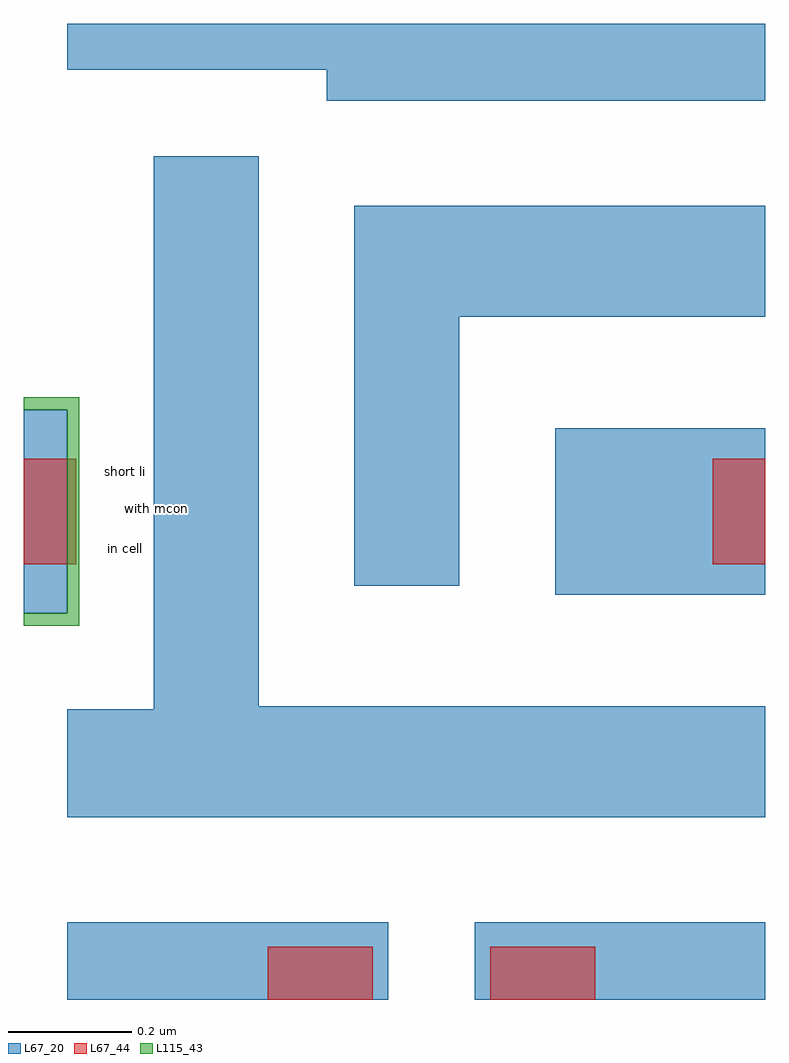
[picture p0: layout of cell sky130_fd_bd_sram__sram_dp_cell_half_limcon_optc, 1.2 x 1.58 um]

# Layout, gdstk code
from math import pi, radians
import gdstk
lib = gdstk.Library(unit=1e-6, precision=1e-09)
def R(c, l, rs):  # rectangles x0, y0, x1, y1
    for r in rs: c.add(gdstk.rectangle(r[:2], r[2:], *l))
def P(c, l, *ps):  # polygons
    for p in ps: c.add(gdstk.Polygon(p, *l))
L67_20 = (67, 20)
L67_44 = (67, 44)
L115_43 = (115, 43)

sky130_fd_bd_sram__sram_ = lib.new_cell('sky130_fd_bd_sram__sram_dp_mcon_05')
R(sky130_fd_bd_sram__sram_, L67_44, [(-0.085,0,0.085,0.085)])

c_sky130_fd_bd_sram__sram_ = lib.new_cell('sky130_fd_bd_sram__sram_dp_cell_half_limcon_optc')
R(c_sky130_fd_bd_sram__sram_, L67_20, [(0.07,0,0.59,0.125), (0.73,0,1.2,0.125), (0,0.625,0.07,0.955), (0.86,0.655,1.2,0.925)])
P(c_sky130_fd_bd_sram__sram_, L67_20, [(0.49,1.455),(0.49,1.505),(0.07,1.505),(0.07,1.58),(1.2,1.58),(1.2,1.455)],
  [(0.535,0.67),(0.535,1.285),(1.2,1.285),(1.2,1.105),(0.705,1.105),(0.705,0.67)],
  [(0.07,0.295),(0.07,0.47),(0.21,0.47),(0.21,1.365),(0.38,1.365),(0.38,0.475),(1.2,0.475),(1.2,0.295)])
R(c_sky130_fd_bd_sram__sram_, L115_43, [(0,0.605,0.07,0.625), (0.07,0.605,0.09,0.975), (0,0.955,0.07,0.975)])
c_sky130_fd_bd_sram__sram_.add(gdstk.Reference(sky130_fd_bd_sram__sram_, (0.84,0)))
c_sky130_fd_bd_sram__sram_.add(gdstk.Reference(sky130_fd_bd_sram__sram_, (1.2,0.79), rotation=pi/2))
c_sky130_fd_bd_sram__sram_.add(gdstk.Reference(sky130_fd_bd_sram__sram_, (0,0.79), rotation=3*pi/2))
c_sky130_fd_bd_sram__sram_.add(gdstk.Reference(sky130_fd_bd_sram__sram_, (0.48,0)))
c_sky130_fd_bd_sram__sram_.add(gdstk.Label('with mcon', (0.215,0.795), layer=83, texttype=44))
c_sky130_fd_bd_sram__sram_.add(gdstk.Label('short li', (0.165,0.855), layer=83, texttype=44))
c_sky130_fd_bd_sram__sram_.add(gdstk.Label('in cell', (0.165,0.73), layer=83, texttype=44))

lib.write_gds('sky130_fd_bd_sram__sram_dp_cell_half_limcon_optc.gds')
